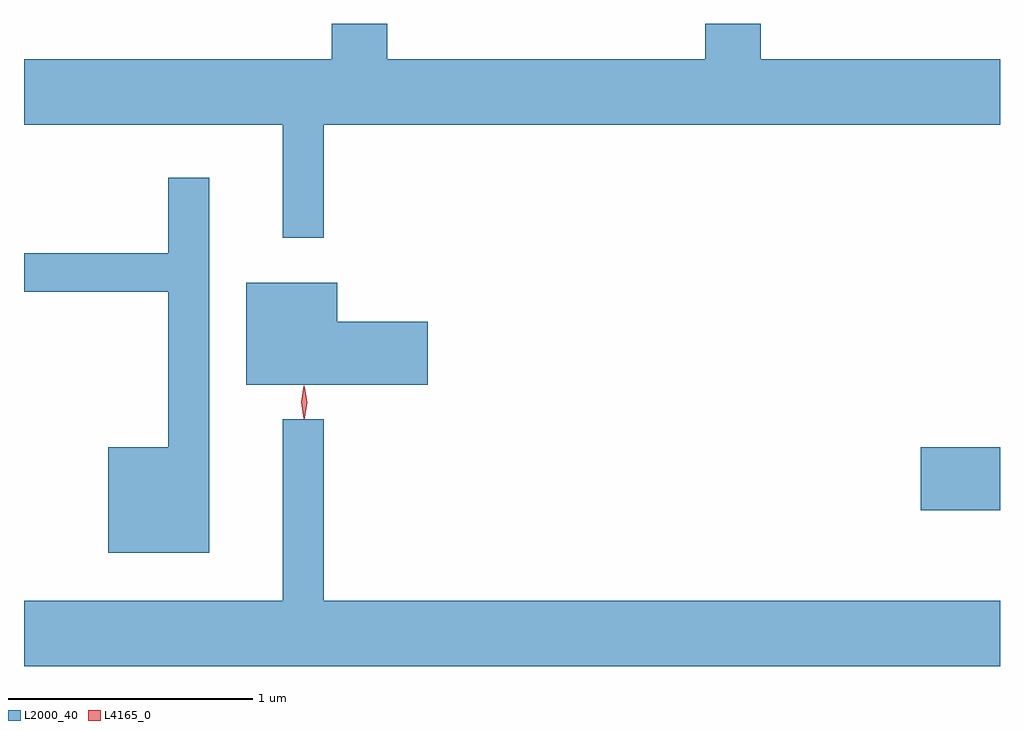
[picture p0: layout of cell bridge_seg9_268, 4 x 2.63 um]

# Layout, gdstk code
import gdstk
lib = gdstk.Library(unit=1e-6, precision=1e-09)
def R(c, l, rs):  # rectangles x0, y0, x1, y1
    for r in rs: c.add(gdstk.rectangle(r[:2], r[2:], *l))
def P(c, l, *ps):  # polygons
    for p in ps: c.add(gdstk.Polygon(p, *l))
L2000_40 = (2000, 40)
L4165_0 = (4165, 0)

bridge_seg9_268 = lib.new_cell('bridge_seg9_268')
R(bridge_seg9_268, L2000_40, [(1025.596,2052.396,1025.92,2052.654)])
P(bridge_seg9_268, L2000_40, [(1021.92,2053.976),(1022.981,2053.976),(1022.981,2053.512),(1023.149,2053.512),(1023.149,2053.976),(1025.92,2053.976),(1025.92,2054.244),(1024.939,2054.244),(1024.939,2054.39),(1024.711,2054.39),(1024.711,2054.244),(1023.409,2054.244),(1023.409,2054.39),(1023.181,2054.39),(1023.181,2054.244),(1021.92,2054.244)],
  [(1022.679,2053.758),(1022.511,2053.758),(1022.511,2053.449),(1021.92,2053.449),(1021.92,2053.291),(1022.511,2053.291),(1022.511,2052.654),(1022.266,2052.654),(1022.266,2052.221),(1022.679,2052.221)],
  [(1023.574,2053.169),(1023.204,2053.169),(1023.204,2053.329),(1022.831,2053.329),(1022.831,2052.911),(1023.574,2052.911)],
  [(1025.92,2052.024),(1023.149,2052.024),(1023.149,2052.768),(1022.981,2052.768),(1022.981,2052.024),(1021.92,2052.024),(1021.92,2051.756),(1025.92,2051.756)])
P(bridge_seg9_268, L4165_0, [(1023.067,2052.77),(1023.067,2052.77),(1023.057,2052.838),(1023.067,2052.906),(1023.067,2052.906),(1023.068,2052.906),(1023.077,2052.838),(1023.068,2052.77)],
  [(1023.07,2052.773),(1023.07,2052.774),(1023.06,2052.836),(1023.07,2052.899),(1023.07,2052.9),(1023.07,2052.899),(1023.08,2052.836),(1023.07,2052.774)])

lib.write_gds('bridge_seg9_268.gds')
